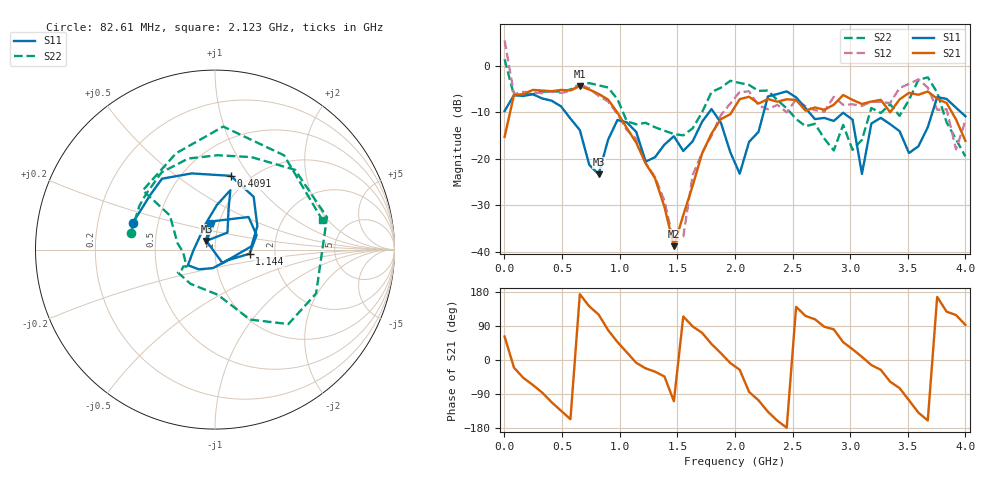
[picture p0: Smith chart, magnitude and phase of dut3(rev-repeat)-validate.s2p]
!Created with skrf (http://scikit-rf.org).
# GHz S DB R 50.0
!freq dBS11 angS11 dBS21 angS21 dBS12 angS12 dBS22 angS22
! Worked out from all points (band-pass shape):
!   50 points, 1 MHz to 4 GHz, reference 50 ohm
!   highest |S21| = -4.39 dB at 653.9 MHz (marker M1); lowest = -38.8 dB at 1.47 GHz (marker M2)
!   |S21| within 3 dB of the highest: 72.38 MHz to 901.7 MHz (829.3 MHz wide, 170 % of centre); 3.425 GHz to 3.78 GHz (355.3 MHz wide, 9.86 % of centre)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
!   lowest |S11| = -23.3 dB at 817.1 MHz (marker M3), VSWR 1.15, Z = 45.2 + j4.39 ohm
!   |S11| at or under -10 dB: 529.2 MHz to 1.776 GHz (1.247 GHz wide, 108 % of centre); 1.815 GHz to 2.25 GHz (434.6 MHz wide, 21.4 % of centre); 2.643 GHz to 3.714 GHz (1.072 GHz wide, 33.7 % of centre)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
!   |S22| runs from -19.5 to 1.4 dB; largest |S21 - S12| = 1.8
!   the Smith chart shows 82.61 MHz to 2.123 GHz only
!   S11 on the Smith chart (normalised r, x): 82.61 MHz: 0.36, +0.14; 409.1 MHz: 0.82, +0.82; 1.144 GHz: 1.48, -0.07; 2.123 GHz: 0.90, +0.28
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0.001  -9.74 -98.4  -15.32 61.7  5.41 3.0  1.36 -47.6
0.08261224  -6.33 162.2  -6.25 -20.4  -6.10 -21.5  -6.41 169.1
0.4090612  -7.53 77.9  -5.50 -111.5  -5.51 -106.0  -5.54 106.3
0.653898  -13.84 5.1  -4.39 173.6  -4.03 174.7  -4.02 44.9
0.7355102  -21.30 -60.8  -5.12 141.7  -4.88 137.1  -3.75 16.1
0.8171224  -23.34 134.8  -6.09 119.9  -6.52 101.3  -4.24 -23.4
1.143571  -14.25 -6.8  -16.57 -7.5  -15.70 2.1  -12.60 -125.6
1.388408  -16.96 -129.3  -30.36 -43.6  -29.08 -64.3  -13.99 -152.0
1.47002  -15.17 -150.0  -38.79 -108.8  -37.98 -67.0  -14.69 -149.1
1.796469  -9.32 75.5  -14.60 42.4  -15.08 57.1  -5.67 140.6
2.041306  -23.21 136.0  -7.20 -25.7  -5.65 -41.4  -3.73 53.8
2.122918  -16.36 101.3  -6.69 -84.3  -5.53 -98.6  -4.15 15.6
2.286143  -6.62 38.2  -7.18 -136.5  -9.38 -137.6  -5.35 -16.3
2.694204  -11.49 -13.8  -8.99 107.5  -9.58 121.3  -12.50 -107.5
3.020653  -11.60 -89.4  -7.36 28.4  -8.33 26.0  -18.10 -112.2
3.102265  -23.27 -171.2  -8.23 8.2  -8.66 4.8  -15.94 177.9
3.183878  -12.44 145.1  -7.72 -13.3  -7.75 -17.5  -9.09 157.8
3.347102  -12.57 131.0  -10.02 -57.3  -8.03 -69.5  -8.29 133.9
3.510327  -18.78 70.4  -5.85 -106.2  -3.92 -90.3  -7.37 86.8
3.673551  -13.25 101.2  -5.55 -159.6  -4.72 -162.4  -2.52 38.1
3.918388  -9.03 42.1  -11.54 118.7  -17.99 149.9  -15.82 -68.2
4  -10.88 28.5  -16.16 92.7  -11.84 98.1  -19.50 -80.3
